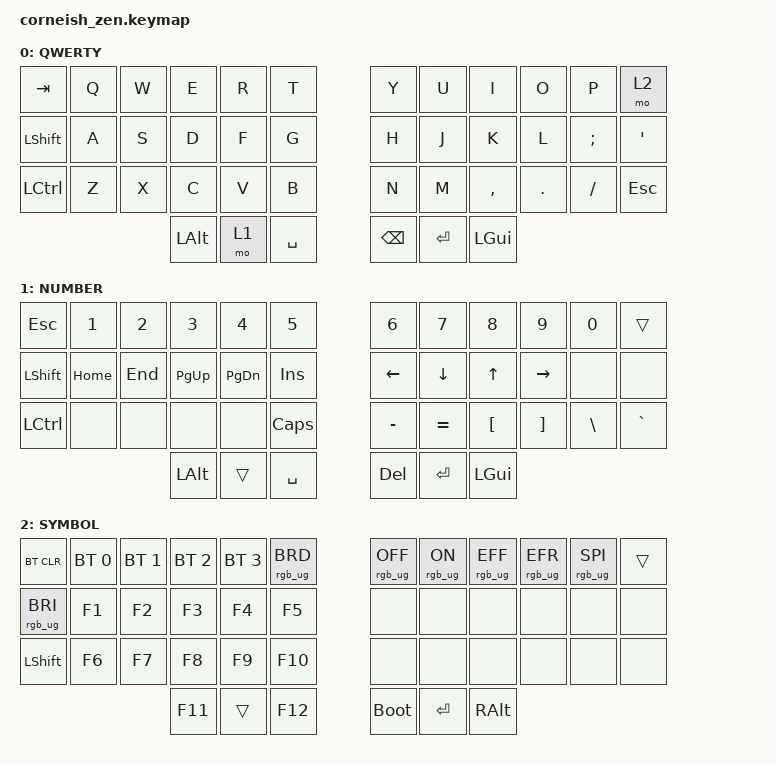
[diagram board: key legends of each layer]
/*
*
* Copyright (c) 2021 Darryl deHaan
* SPDX-License-Identifier: MIT
*
*/

#include <behaviors.dtsi>
#include <dt-bindings/zmk/keys.h>
#include <dt-bindings/zmk/bt.h>
#include <dt-bindings/zmk/ext_power.h>
#include <dt-bindings/zmk/outputs.h>
#include <dt-bindings/zmk/rgb.h>

/ {
    chosen {
        zmk,matrix_transform = &default_transform;
        // zmk,matrix_transform = &five_column_transform;
    };
};

/ {
    keymap {
        compatible = "zmk,keymap";

        default_layer {
            display-name = "QWERTY";
// --------------------------------------------------------------------------------
// |  TAB |  Q  |  W  |  E  |  R  |  T  |   |  Y  |  U   |  I  |  O  |  P  | BKSP |
// | CTRL |  A  |  S  |  D  |  F  |  G  |   |  H  |  J   |  K  |  L  |  ;  |  '   |
// | SHFT |  Z  |  X  |  C  |  V  |  B  |   |  N  |  M   |  ,  |  .  |  /  | ESC  |
//                    | GUI | LWR | SPC |   | ENT | RSE  | ALT |
            bindings = <
&kp TAB &kp Q   &kp W &kp E &kp R &kp T   &kp Y &kp U  &kp I     &kp O   &kp P    &mo 2
&kp LSHFT &kp A &kp S &kp D &kp F &kp G   &kp H &kp J  &kp K     &kp L   &kp SEMI &kp SQT
&kp LCTRL &kp Z &kp X &kp C &kp V &kp B   &kp N &kp M  &kp COMMA &kp DOT &kp FSLH &kp ESC
               &kp LALT  &mo 1 &kp SPACE   &kp BSPC &kp RET &kp LGUI
            >;
        };

        lower_layer {
            display-name = "NUMBER";
// -----------------------------------------------------------------------------------------
// |  TAB |  1  |  2  |  3  |  4  |  5  |   |  6  |  7  |  8  |  9  |  0  | BKSP |
// | BTCLR| BT1 | BT2 | BT3 | BT4 | BT5 |   | LFT | DWN |  UP | RGT |     |      |
// | SHFT |     |     |     |     |     |   |     |     |     |     |     |      |
//                    | GUI |     | SPC |   | ENT |     | ALT |
            bindings = <
&kp ESC   &kp N1       &kp N2       &kp N3       &kp N4       &kp N5                                  &kp N6    &kp N7    &kp N8      &kp N9    &kp N0   &trans
&kp LSHFT  &kp HOME     &kp END      &kp PG_UP    &kp PG_DN    &kp INS                                 &kp LEFT  &kp DOWN  &kp UP      &kp RIGHT &none    &none
&kp LCTRL  &none        &none        &none        &none        &kp CAPS                                &kp MINUS &kp EQUAL &kp LBKT    &kp RBKT  &kp BSLH &kp GRAVE
                                     &kp LALT        &trans   &kp SPACE                               &kp DEL   &kp RET   &kp LGUI
            >;
        };

        raise_layer {
            display-name = "SYMBOL";
// -----------------------------------------------------------------------------------------
// |  TAB |  !  |  @  |  #  |  $  |  %  |   |  ^  |  &  |  *  |  (  |  )  | BKSP |
// | CTRL |     |     |     |     |     |   |  -  |  =  |  [  |  ]  |  \  |  `   |
// | SHFT |     |     |     |     |     |   |  _  |  +  |  {  |  }  | "|" |  ~   |
//                    | GUI |     | SPC |   | ENT |     | ALT |
            bindings = <
&bt BT_CLR &bt BT_SEL 0 &bt BT_SEL 1 &bt BT_SEL 2 &bt BT_SEL 3    &rgb_ug RGB_BRD                         &rgb_ug RGB_OFF   &rgb_ug RGB_ON  &rgb_ug RGB_EFF  &rgb_ug RGB_EFR &rgb_ug RGB_SPI  &trans 
&rgb_ug RGB_BRI &kp F1   &kp F2  &kp F3 &kp F4 &kp F5                            &none        &none        &none        &none &none  &none
&kp LSHFT &kp F6   &kp F7  &kp F8 &kp F9 &kp F10                  &none        &none        &none        &none &none  &none
                          &kp F11  &trans &kp F12                          &bootloader   &kp RET    &kp RALT
            >;
        };
    };
};
